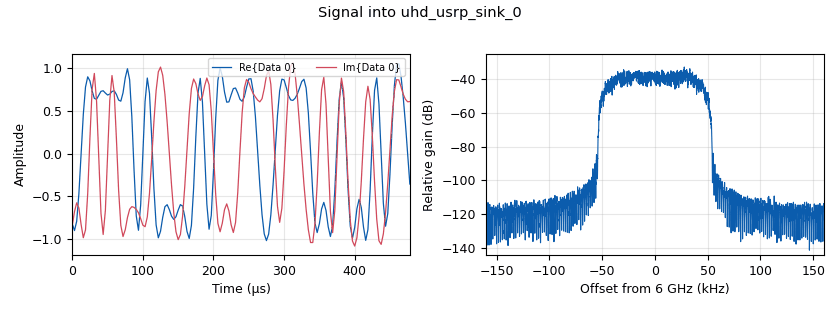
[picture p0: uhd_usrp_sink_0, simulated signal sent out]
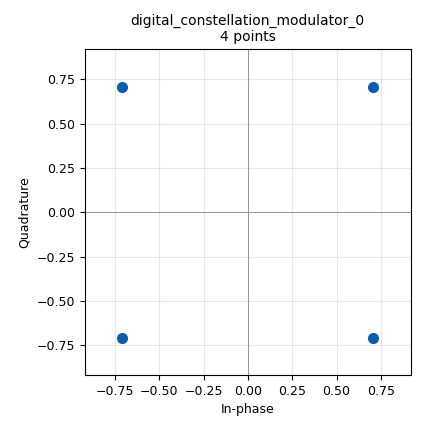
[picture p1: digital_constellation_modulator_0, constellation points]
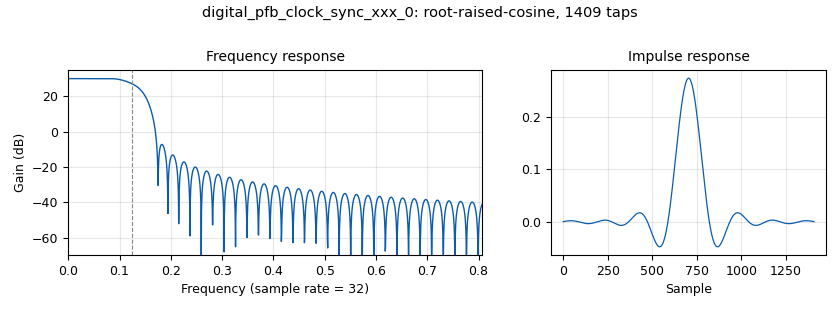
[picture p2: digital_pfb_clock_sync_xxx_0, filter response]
options:
  parameters:
    author: niwelcome
    generate_options: qt_gui
    id: mpsk_stage3
    output_language: python
    title: mpsk_stage3
  states: {}

blocks:
- name: RX_gain
  id: variable_qtgui_range
  parameters:
    label: rx_gain
    start: '0'
    step: '1'
    stop: '50'
    value: '30'
  states: {}
- name: TX_gain
  id: variable_qtgui_range
  parameters:
    label: tx_gain
    start: '0'
    step: '1'
    stop: '50'
    value: '30'
  states: {}
- name: alg
  id: variable_adaptive_algorithm
  parameters:
    cons: qpsk
    modulus: '4'
    step_size: '.01'
    type: cma
  states: {}
- name: arity
  id: variable
  parameters:
    value: '4'
  states: {}
- name: excess_bw
  id: variable
  parameters:
    value: '0.35'
  states: {}
- name: freq_offset
  id: variable_qtgui_range
  parameters:
    label: channel:freq_offset
    start: '-0.1'
    step: '0.001'
    stop: '0.1'
    value: '0'
  states: {}
- name: noise_volt
  id: variable_qtgui_range
  parameters:
    label: channel:noise voltage
    start: '0'
    step: '0.1'
    stop: '1'
    value: '0.2'
  states: {}
- name: qpsk
  id: variable_constellation_rect
  parameters:
    const_points: '[-0.007-0.007j, -0.007+0.007j,0.007-0.007j, 0.007+0.007j]'
    imag_sect: '2'
    real_sect: '2'
    rot_sym: '4'
    sym_map: '[0, 1,2,3]'
    w_imag_sect: '1'
    w_real_sect: '1'
  states: {}
- name: rrc_taps
  id: variable
  parameters:
    value: firdes.root_raised_cosine(32,32,1.0/sps,excess_bw,11*sps*32)
  states: {}
- name: samp_rate
  id: variable
  parameters:
    value: '320000'
  states: {}
- name: sps
  id: variable
  parameters:
    value: '4'
  states: {}
- name: time_bw
  id: variable_qtgui_range
  parameters:
    start: '0'
    step: '0.01'
    stop: '0.2'
    value: '0.0628'
  states: {}
- name: time_offset
  id: variable_qtgui_range
  parameters:
    label: channel:time_offset
    start: '0.999'
    step: '0.0001'
    stop: '1.001'
    value: '1'
  states: {}
- name: address
  id: parameter
  parameters:
    label: UHD dev args
    type: str
    value: '"type=x4xx,mgmt_addr=192.168.1.100,addr=192.168.10.2"'
  states: {}
- name: analog_random_source_x_0
  id: analog_random_source_x
  parameters:
    max: '256'
    min: '0'
    num_samps: '10000'
    repeat: 'True'
    type: byte
  states: {}
- name: digital_constellation_modulator_0
  id: digital_constellation_modulator
  parameters:
    constellation: qpsk
    differential: 'True'
    excess_bw: '0.35'
    samples_per_symbol: '4'
  states: {}
- name: digital_costas_loop_cc_0
  id: digital_costas_loop_cc
  parameters:
    order: '4'
    w: time_bw
  states: {}
- name: digital_linear_equalizer_0
  id: digital_linear_equalizer
  parameters:
    alg: alg
    num_taps: '15'
    sps: '2'
  states: {}
- name: digital_pfb_clock_sync_xxx_0
  id: digital_pfb_clock_sync_xxx
  parameters:
    filter_size: '32'
    init_phase: '16'
    loop_bw: time_bw
    max_dev: '1.5'
    osps: '2'
    sps: '4'
    taps: rrc_taps
    type: ccf
  states: {}
- name: freq
  id: parameter
  parameters:
    label: Default Frequency
    short_id: f
    type: eng_float
    value: 6.0e9
  states: {}
- name: qtgui_const_sink_x_0
  id: qtgui_const_sink_x
  parameters:
    name: '"locked"'
    size: '1024'
    type: complex
  states: {}
- name: qtgui_const_sink_x_0_0
  id: qtgui_const_sink_x
  parameters:
    name: '"linear"'
    size: '1024'
    type: complex
  states: {}
- name: qtgui_const_sink_x_0_1
  id: qtgui_const_sink_x
  parameters:
    name: '"polyphase"'
    size: '1024'
    type: complex
  states: {}
- name: qtgui_const_sink_x_0_1_0
  id: qtgui_const_sink_x
  parameters:
    name: '"start"'
    size: '1024'
    type: complex
  states: {}
- name: qtgui_freq_sink_x_0
  id: qtgui_freq_sink_x
  parameters:
    bw: samp_rate
    fc: '0'
    fftsize: '1024'
    nconnections: '2'
    type: complex
  states: {}
- name: uhd_usrp_sink_0
  id: uhd_usrp_sink
  parameters:
    ant0: '"TX/RX"'
    center_freq0: freq
    dev_addr: address
    dev_args: '""'
    gain0: TX_gain
    len_tag_name: ''
    samp_rate: samp_rate
    stream_args: num_send_frames=512,send_buff_size=25000000
    stream_chans: '[0]'
    sync: pc_clock
    type: fc32
  states: {}
- name: uhd_usrp_source_0
  id: uhd_usrp_source
  parameters:
    ant0: '"RX1"'
    center_freq0: freq
    dev_addr: address
    dev_args: '""'
    gain0: RX_gain
    samp_rate: samp_rate
    stream_args: num_recv_frames=512,recv_buff_size=25000000
    stream_chans: '[2]'
    sync: none
    type: fc32
  states: {}

connections:
- [analog_random_source_x_0, '0', digital_constellation_modulator_0, '0']
- [digital_constellation_modulator_0, '0', qtgui_freq_sink_x_0, '0']
- [digital_constellation_modulator_0, '0', uhd_usrp_sink_0, '0']
- [digital_costas_loop_cc_0, '0', qtgui_const_sink_x_0, '0']
- [digital_linear_equalizer_0, '0', digital_costas_loop_cc_0, '0']
- [digital_linear_equalizer_0, '0', qtgui_const_sink_x_0_0, '0']
- [digital_pfb_clock_sync_xxx_0, '0', digital_linear_equalizer_0, '0']
- [digital_pfb_clock_sync_xxx_0, '0', qtgui_const_sink_x_0_1, '0']
- [uhd_usrp_source_0, '0', digital_pfb_clock_sync_xxx_0, '0']
- [uhd_usrp_source_0, '0', qtgui_const_sink_x_0_1_0, '0']
- [uhd_usrp_source_0, '0', qtgui_freq_sink_x_0, '1']

metadata:
  file_format: 1
  grc_version: 3.10.12.0
